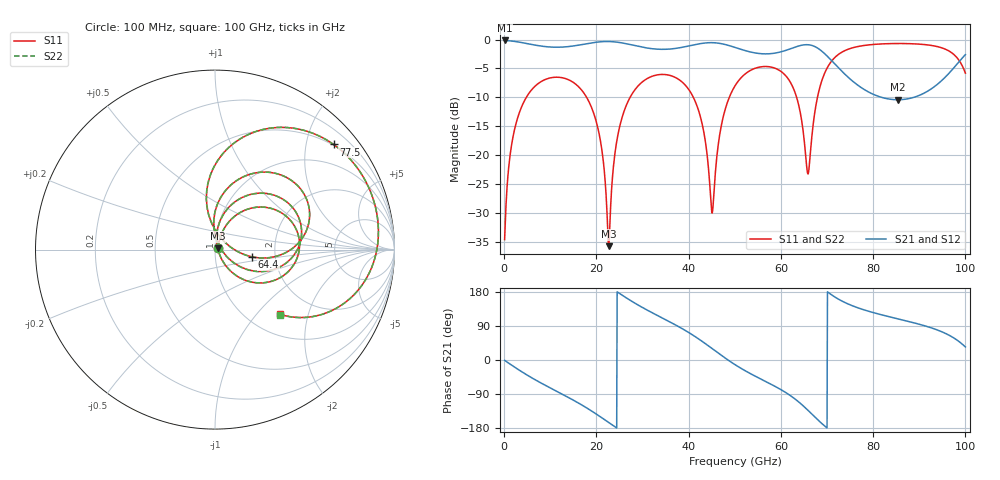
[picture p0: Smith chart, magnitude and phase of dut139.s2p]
! Touchstone file exported from HFSS 2026.1.0
!  File:  C:/ffzhzh/LocalFiles/Ansys_Project_Files/temp_train_TSV_RDL_139_1783462133_7600.aedt
!  Generated:  06:17:59 AM Jul  8, 2026
!  Design:  TSV_RDL
!  Project:  temp_train_TSV_RDL_139_1783462133_7600
! Variables:
!  h_bsmrdl = 3.59um
!  h_ox = 20um
!  h_rdl = 5um
!  h_sub = 64.6um
!  h_tmrdl = 2.19um
!  h_tsv = 64.6um
!  h_via = 3um
!  l_bsmrdl = 257.63um
!  l_sub = 2336.19um
!  l_tmrdl = 261.29um
!  m_sub = 200um
!  pitch = 48um
!  r_tsv = 12.75um
!  s_tmrdl = 10um
!  w_bsmrdl = 25.93um
!  w_sub = 500um
!  w_tmrdl = 13.45um
!  x_tsv_center1 = 268.015um
!  x_tsv_center2 = 551.575um
!  x_tsv_center3 = 826.315um
!  x_tsv_center4 = 1109.875um
!  x_tsv_center5 = 1384.615um
!  x_tsv_center6 = 1668.175um
# GHz S MA R 50.000000
! Terminal data exported
! Port[1] = TM_RDL1_1_T1
! Port[2] = TM_RDL5_1_T1
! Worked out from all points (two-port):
!   1000 points, 100 MHz to 100 GHz, reference 50 ohm
!   highest |S21| = -0.15 dB at 100 MHz (marker M1); lowest = -10.4 dB at 85.3 GHz (marker M2)
!   |S21| within 3 dB of the highest: start of sweep to 70.4 GHz; 99.37 GHz to end of sweep
!   lowest |S11| = -35.8 dB at 22.7 GHz (marker M3), VSWR 1.03, Z = 51.5 + j0.669 ohm
!   |S11| at or under -10 dB: start of sweep to 4.81 GHz; 17.88 GHz to 27.31 GHz (9.43 GHz wide, 41.7 % of centre); 41.02 GHz to 48.82 GHz (7.799 GHz wide, 17.4 % of centre) (the widest 3 of 4)
!   |S22| runs from -35.4 to -0.7 dB; largest |S21 - S12| = 3.7e-14
!   S11 on the Smith chart (normalised r, x): 100 MHz: 1.03, +0.02; 64.4 GHz: 1.52, -0.13; 77.5 GHz: 0.48, +2.56; 100 GHz: 1.38, -1.35
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0.1  0.01852 25.6  0.9834 -0.9  0.9834 -0.9  0.01852 25.6
! Gamma 0 0 0 0
! Port Impedance 50 0 50 0
1.7  0.1285 66.5  0.9712 -14.2  0.9712 -14.2  0.1285 66.6
4.7  0.3108 48.3  0.9283 -37.7  0.9283 -37.7  0.3108 48.3
16.8  0.3653 -28.6  0.9049 -118.4  0.9049 -118.4  0.3653 -28.6
20.5  0.1591 -53.2  0.9545 -146.9  0.9545 -146.9  0.1591 -53.0
22.7  0.01624 23.6  0.9628 -165.2  0.9628 -165.2  0.01698 23.2
25.9  0.2332 73.5  0.9309 168.5  0.9309 168.5  0.2333 73.3
33.4  0.4963 25.2  0.8257 116.4  0.8257 116.4  0.4964 25.1
41.4  0.293 -24.5  0.9054 61.8  0.9054 61.8  0.293 -24.8
45.1  0.03138 30.2  0.9409 30.1  0.9409 30.1  0.02999 30.0
47.2  0.1896 91.0  0.9206 11.3  0.9206 11.3  0.1893 91.3
50.1  0.4005 72.9  0.8548 -12.7  0.8548 -12.7  0.4003 73.0
58.5  0.5694 22.5  0.7616 -68.1  0.7616 -68.1  0.5693 22.5
64.4  0.2108 -11.0  0.8922 -116.2  0.8922 -116.2  0.2106 -11.2
65.8  0.06908 36.9  0.9035 -131.9  0.9035 -131.9  0.06809 36.8
66.7  0.143 96.3  0.8909 -142.6  0.8909 -142.6  0.1425 96.7
70  0.5652 83.0  0.7222 -179.2  0.7222 -179.2  0.5651 83.1
77.5  0.8831 41.6  0.382 134.3  0.382 134.3  0.883 41.6
83.4  0.9227 23.3  0.3058 114.4  0.3058 114.4  0.9227 23.3
85.3  0.9252 18.1  0.3014 108.8  0.3014 108.8  0.9252 18.2
94.4  0.8603 -10.4  0.4254 76.9  0.4254 76.9  0.8602 -10.4
100  0.512 -44.8  0.7416 34.4  0.7416 34.4  0.5118 -45.0
